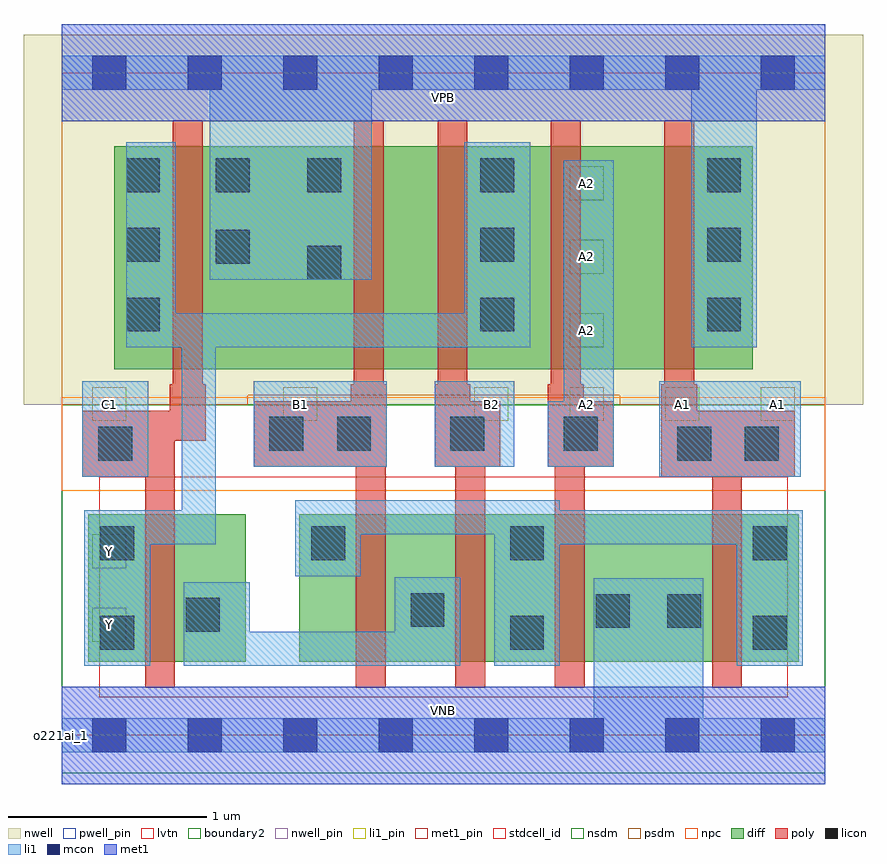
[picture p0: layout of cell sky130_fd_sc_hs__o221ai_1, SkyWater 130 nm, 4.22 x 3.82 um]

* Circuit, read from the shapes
.subckt sky130_fd_sc_hs__o221ai_1 A1 A2 B1 B2 C1 VGND VNB VPB VPWR Y
XM1 n1 C1 Y VNB sky130_fd_pr__nfet_01v8_lvt w=0.74 l=0.15
XM2 n1 B1 n2 VNB sky130_fd_pr__nfet_01v8_lvt w=0.74 l=0.15
XM3 n2 B2 n1 VNB sky130_fd_pr__nfet_01v8_lvt w=0.74 l=0.15
XM4 VGND A2 n2 VNB sky130_fd_pr__nfet_01v8_lvt w=0.74 l=0.15
XM5 n2 A1 VGND VNB sky130_fd_pr__nfet_01v8_lvt w=0.74 l=0.15
XM6 VPWR C1 Y VPB sky130_fd_pr__pfet_01v8 w=1.12 l=0.15
XM7 n3 B1 VPWR VPB sky130_fd_pr__pfet_01v8 w=1.12 l=0.15
XM8 Y B2 n3 VPB sky130_fd_pr__pfet_01v8 w=1.12 l=0.15
XM9 n4 A2 Y VPB sky130_fd_pr__pfet_01v8 w=1.12 l=0.15
XM10 VPWR A1 n4 VPB sky130_fd_pr__pfet_01v8 w=1.12 l=0.15
.ends

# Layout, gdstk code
import gdstk
lib = gdstk.Library(unit=1e-6, precision=1e-09)
def R(c, l, rs):  # rectangles x0, y0, x1, y1
    for r in rs: c.add(gdstk.rectangle(r[:2], r[2:], *l))
def A(c, l, x, y, w, h, nx, ny, dx, dy):  # array of equal rectangles
    R(c, l, [(x+i*dx, y+j*dy, x+i*dx+w, y+j*dy+h) for i in range(nx) for j in range(ny)])
def P(c, l, *ps):  # polygons
    for p in ps: c.add(gdstk.Polygon(p, *l))
nwell_pin = (64, 16)
nwell = (64, 20)
diff = (65, 20)
poly = (66, 20)
licon = (66, 44)
li1_pin = (67, 16)
li1 = (67, 20)
mcon = (67, 44)
met1_pin = (68, 16)
met1 = (68, 20)
stdcell_id = (81, 4)
nsdm = (93, 44)
psdm = (94, 20)
npc = (95, 20)
pwell_pin = (122, 16)
lvtn = (125, 44)
boundary2 = (236, 0)

sky130_fd_sc_hs__o221ai_ = lib.new_cell('sky130_fd_sc_hs__o221ai_1')
R(sky130_fd_sc_hs__o221ai_, nwell_pin, [(0,3.085,3.84,3.33)])
R(sky130_fd_sc_hs__o221ai_, nwell, [(-0.19,1.66,4.03,3.52)])
R(sky130_fd_sc_hs__o221ai_, diff, [(0.135,0.37,0.925,1.11), (1.195,0.37,3.705,1.11), (0.265,1.84,3.475,2.96)])
P(sky130_fd_sc_hs__o221ai_, poly, [(0.725,1.765),(0.71,1.765),(0.71,3.09),(0.56,3.09),(0.56,1.765),(0.545,1.765),(0.545,1.63),(0.105,1.63),(0.105,1.3),(0.42,1.3),(0.42,0.24),(0.57,0.24),(0.57,1.48),(0.725,1.48)],
  [(1.635,1.765),(1.62,1.765),(1.62,3.09),(1.47,3.09),(1.47,1.765),(1.455,1.765),(1.455,1.68),(0.965,1.68),(0.965,1.35),(1.48,1.35),(1.48,0.24),(1.63,0.24),(1.63,1.35),(1.635,1.35)],
  [(2.205,1.68),(2.055,1.68),(2.055,1.765),(2.04,1.765),(2.04,3.09),(1.89,3.09),(1.89,1.765),(1.875,1.765),(1.875,1.35),(1.98,1.35),(1.98,0.24),(2.13,0.24),(2.13,1.35),(2.205,1.35)],
  [(2.775,1.68),(2.625,1.68),(2.625,1.765),(2.61,1.765),(2.61,3.09),(2.46,3.09),(2.46,1.765),(2.445,1.765),(2.445,1.35),(2.48,1.35),(2.48,0.24),(2.63,0.24),(2.63,1.35),(2.775,1.35)],
  [(3.685,1.63),(3.195,1.63),(3.195,1.765),(3.18,1.765),(3.18,3.09),(3.03,3.09),(3.03,1.765),(3.015,1.765),(3.015,1.3),(3.27,1.3),(3.27,0.24),(3.42,0.24),(3.42,1.3),(3.685,1.3)])
A(sky130_fd_sc_hs__o221ai_, licon, 1.385, 1.43, 0.17, 0.17, 3, 1, 0.57, 0)
A(sky130_fd_sc_hs__o221ai_, licon, 0.325, 2.03, 0.17, 0.17, 1, 3, 0, 0.35)
A(sky130_fd_sc_hs__o221ai_, licon, 2.105, 2.03, 0.17, 0.17, 1, 3, 0, 0.35)
A(sky130_fd_sc_hs__o221ai_, licon, 3.245, 2.03, 0.17, 0.17, 1, 3, 0, 0.35)
R(sky130_fd_sc_hs__o221ai_, licon, [(0.195,0.43,0.365,0.6), (2.255,0.43,2.425,0.6), (3.475,0.43,3.645,0.6), (0.625,0.52,0.795,0.69), (2.685,0.54,2.855,0.71), (3.045,0.54,3.215,0.71), (1.755,0.545,1.925,0.715), (0.195,0.88,0.365,1.05), (1.255,0.88,1.425,1.05), (2.255,0.88,2.425,1.05), (3.475,0.88,3.645,1.05), (0.185,1.38,0.355,1.55), (3.095,1.38,3.265,1.55), (3.435,1.38,3.605,1.55), (1.045,1.43,1.215,1.6), (1.235,2.29,1.405,2.46), (0.775,2.37,0.945,2.54), (0.775,2.73,0.945,2.9), (1.235,2.73,1.405,2.9)])
A(sky130_fd_sc_hs__o221ai_, li1_pin, 0.155, 1.58, 0.17, 0.17, 3, 1, 0.96, 0)
A(sky130_fd_sc_hs__o221ai_, li1_pin, 2.555, 1.58, 0.17, 0.17, 3, 1, 0.48, 0)
A(sky130_fd_sc_hs__o221ai_, li1_pin, 2.555, 1.95, 0.17, 0.17, 1, 3, 0, 0.37)
R(sky130_fd_sc_hs__o221ai_, li1_pin, [(0.155,0.47,0.325,0.64), (0.155,0.84,0.325,1.01)])
R(sky130_fd_sc_hs__o221ai_, li1, [(0.105,1.3,0.435,1.78), (3.005,1.3,3.715,1.78), (0.965,1.35,1.635,1.78), (1.875,1.35,2.275,1.78)])
P(sky130_fd_sc_hs__o221ai_, li1, [(0,-0.085),(0,0.085),(2.675,0.085),(2.675,0.79),(3.225,0.79),(3.225,0.085),(3.84,0.085),(3.84,-0.085)],
  [(0,3.245),(0,3.415),(3.84,3.415),(3.84,3.245),(3.495,3.245),(3.495,1.95),(3.165,1.95),(3.165,3.245),(1.56,3.245),(1.56,2.29),(0.745,2.29),(0.745,3.245)],
  [(0.115,0.35),(0.115,1.13),(0.605,1.13),(0.605,1.95),(0.325,1.95),(0.325,2.98),(0.575,2.98),(0.575,2.12),(2.025,2.12),(2.025,2.98),(2.355,2.98),(2.355,1.95),(0.775,1.95),(0.775,0.96),(0.445,0.96),(0.445,0.35)],
  [(2.445,1.35),(2.445,1.68),(2.525,1.68),(2.525,2.89),(2.775,2.89),(2.775,1.35)],
  [(2.505,1.13),(3.725,1.13),(3.725,0.35),(3.395,0.35),(3.395,0.96),(2.505,0.96),(2.505,0.35),(2.175,0.35),(2.175,1.01),(1.505,1.01),(1.505,0.8),(1.175,0.8),(1.175,1.18),(2.505,1.18)],
  [(1.675,0.52),(1.675,0.795),(2.005,0.795),(2.005,0.35),(0.615,0.35),(0.615,0.77),(0.945,0.77),(0.945,0.52)])
A(sky130_fd_sc_hs__o221ai_, mcon, 0.155, -0.085, 0.17, 0.17, 8, 2, 0.48, 3.33)
R(sky130_fd_sc_hs__o221ai_, met1_pin, [(0,0,3.84,0.245), (0,3.085,3.84,3.33)])
R(sky130_fd_sc_hs__o221ai_, met1, [(0,-0.245,3.84,0.245), (0,3.085,3.84,3.575)])
R(sky130_fd_sc_hs__o221ai_, stdcell_id, [(0,0,3.84,3.33)])
R(sky130_fd_sc_hs__o221ai_, nsdm, [(0,-0.19,3.84,1.66)])
P(sky130_fd_sc_hs__o221ai_, psdm, [(3.84,3.52),(0,3.52),(0,1.66),(0.935,1.66),(0.935,1.71),(2.805,1.71),(2.805,1.66),(3.84,1.66)])
R(sky130_fd_sc_hs__o221ai_, npc, [(0,1.23,3.84,1.7)])
R(sky130_fd_sc_hs__o221ai_, pwell_pin, [(0,0,3.84,0.245)])
R(sky130_fd_sc_hs__o221ai_, lvtn, [(0.19,0.19,3.65,1.3)])
R(sky130_fd_sc_hs__o221ai_, boundary2, [(0,0,3.84,3.33)])
sky130_fd_sc_hs__o221ai_.add(gdstk.Label('o221ai_1', (0,0), layer=83, texttype=44))
sky130_fd_sc_hs__o221ai_.add(gdstk.Label('VNB', (1.92,0.123), layer=64, texttype=59))
sky130_fd_sc_hs__o221ai_.add(gdstk.Label('VPB', (1.92,3.208), layer=64, texttype=5))
sky130_fd_sc_hs__o221ai_.add(gdstk.Label('VPWR', (1.92,3.208), layer=68, texttype=5))
sky130_fd_sc_hs__o221ai_.add(gdstk.Label('VGND', (1.92,0.123), layer=68, texttype=5))
sky130_fd_sc_hs__o221ai_.add(gdstk.Label('Y', (0.24,0.555), layer=67, texttype=5))
sky130_fd_sc_hs__o221ai_.add(gdstk.Label('Y', (0.24,0.925), layer=67, texttype=5))
sky130_fd_sc_hs__o221ai_.add(gdstk.Label('B1', (1.2,1.665), layer=67, texttype=5))
sky130_fd_sc_hs__o221ai_.add(gdstk.Label('A1', (3.12,1.665), layer=67, texttype=5))
sky130_fd_sc_hs__o221ai_.add(gdstk.Label('A1', (3.6,1.665), layer=67, texttype=5))
sky130_fd_sc_hs__o221ai_.add(gdstk.Label('C1', (0.24,1.665), layer=67, texttype=5))
sky130_fd_sc_hs__o221ai_.add(gdstk.Label('B2', (2.16,1.665), layer=67, texttype=5))
sky130_fd_sc_hs__o221ai_.add(gdstk.Label('A2', (2.64,1.665), layer=67, texttype=5))
sky130_fd_sc_hs__o221ai_.add(gdstk.Label('A2', (2.64,2.035), layer=67, texttype=5))
sky130_fd_sc_hs__o221ai_.add(gdstk.Label('A2', (2.64,2.405), layer=67, texttype=5))
sky130_fd_sc_hs__o221ai_.add(gdstk.Label('A2', (2.64,2.775), layer=67, texttype=5))

lib.write_gds('sky130_fd_sc_hs__o221ai_1.gds')
